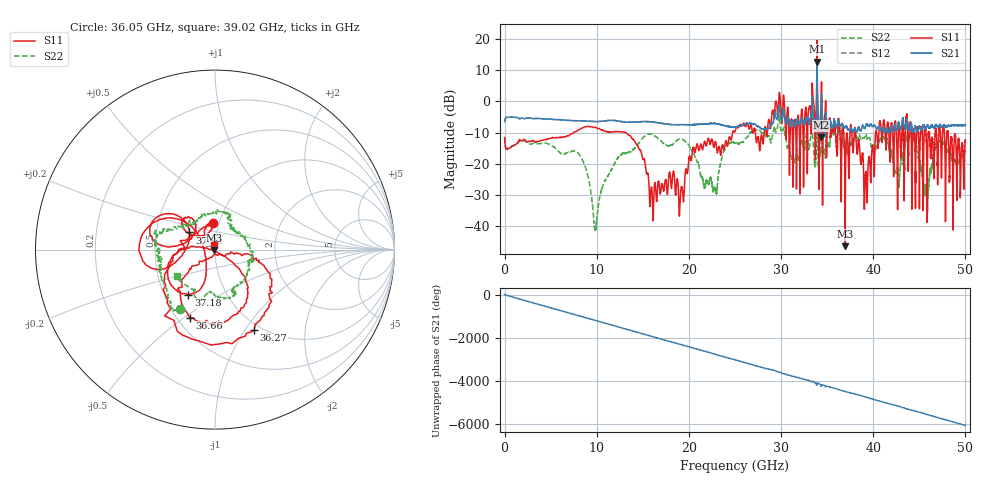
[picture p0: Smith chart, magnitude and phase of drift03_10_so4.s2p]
!Created with skrf (http://scikit-rf.org).
# Hz S RI R 50.0
!freq ReS11 ImS11 ReS21 ImS21 ReS12 ImS12 ReS22 ImS22
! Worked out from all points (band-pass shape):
!   10001 points, 300 kHz to 50 GHz, reference 50 ohm
!   highest |S21| = 12.75 dB at 33.9 GHz (marker M1); lowest = -11.6 dB at 34.32 GHz (marker M2)
!   |S21| within 3 dB of the highest: 33.88989 GHz to 33.90597 GHz (16.08 MHz wide, 0.0474 % of centre)
!   lowest |S11| = -46.4 dB at 36.97 GHz (marker M3), VSWR 1.01, Z = 49.7 - j0.381 ohm
!   |S11| at or under -10 dB: start of sweep to 7.484 GHz; 13.13 GHz to 24.74 GHz (11.61 GHz wide, 61.3 % of centre); 38.08 GHz to 40.26 GHz (2.183 GHz wide, 5.57 % of centre) (the widest 3 of 50)
!   |S22| runs from -41.3 to 5.1 dB; largest |S21 - S12| = 0.34
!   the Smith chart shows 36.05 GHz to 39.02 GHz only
!   S11 on the Smith chart (normalised r, x): 36.05 GHz: 0.93, +0.28; 36.27 GHz: 0.92, -1.10; 36.66 GHz: 0.58, -0.53; 37.18 GHz: 0.66, -0.36; 37.85 GHz: 0.74, +0.15; 39.02 GHz: 0.98, +0.05
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300000  -0.2362 -0.1152  0.4665 0.0752  0.4664 0.0769  -0.2372 -0.1233
1.440291e9  0.21 0.0648  -0.548 -0.0292  -0.5482 -0.029  0.2111 -0.0046
2.915283e9  -0.2119 -0.0879  0.5338 0.051  0.5342 0.0509  -0.2026 0.0403
8.33525e9  0.2883 -0.2336  0.1473 0.4654  0.147 0.4657  -0.0732 -0.1001
9.855241e9  -0.3608 0.1348  -0.1579 -0.4484  -0.1582 -0.4485  0.00863 0.00259
1.66702e10  0.0275 0.0448  -0.3774 0.2542  -0.3776 0.2543  -0.1263 -0.2183
2.500015e10  -0.3259 -0.0132  -0.2555 -0.2947  -0.2551 -0.2968  -0.2125 0.0282
2.895513e10  -0.3232 0.4318  -0.2868 0.3273  -0.2966 0.2913  0.0649 0.2189
3.006512e10  0.3963 0.2639  0.4474 -0.1984  0.4507 -0.1859  0.1712 -0.2983
3.171011e10  -0.0865 0.1907  -0.3575 0.3577  -0.3599 0.3564  0.0649 0.1586
3.33351e10  0.5766 -0.8209  0.2286 -0.8281  0.2299 -0.8071  -0.1931 -0.4054
3.38951e10  -2.961 -8.972  -4.221 1.016  -3.922 1.175  0.5837 1.699
3.432009e10  -0.7795 0.00261  -0.1785 0.195  -0.2387 0.176  0.1418 -0.068
3.604508e10  -0.0133 0.1472  0.3007 -0.2728  0.3061 -0.2703  -0.1977 -0.3305
3.626508e10  0.2176 -0.4486  0.1709 -0.4121  0.175 -0.4046  -0.3003 -0.1714
3.666008e10  -0.1401 -0.3811  -0.2324 -0.3659  -0.2375 -0.373  -0.2558 0.1121
3.696508e10  -0.00289 -0.00384  -0.3716 -0.1075  -0.3699 -0.1074  0.00284 0.2078
3.718008e10  -0.1489 -0.2515  -0.3797 0.00139  -0.3721 0.000606  0.1004 0.1186
3.784507e10  -0.1421 0.0957  -0.0388 0.3252  -0.0347 0.3248  0.1222 -0.2009
3.901507e10  -0.00761 0.0241  0.3202 -0.1881  0.3216 -0.1906  -0.2099 -0.1478
4.167005e10  -0.1899 0.3048  0.3108 0.005  0.3116 0.0121  -0.1936 -0.00877
5e10  -0.1337 -0.2024  0.1495 0.3839  0.1496 0.3831  -0.055 -0.1453
